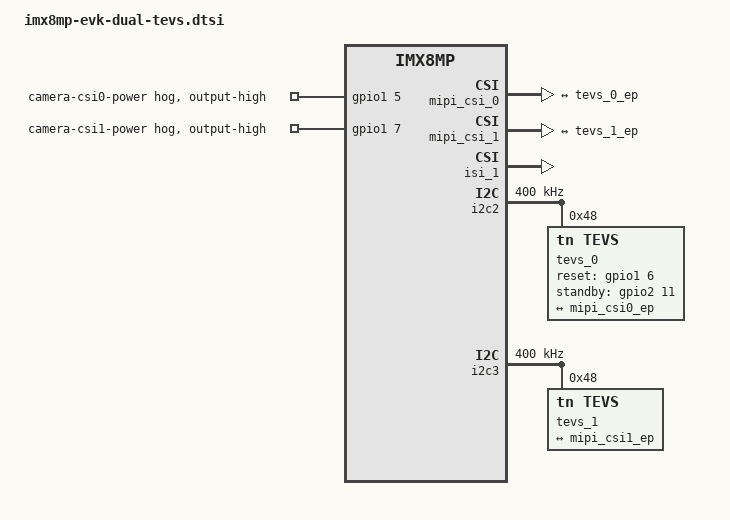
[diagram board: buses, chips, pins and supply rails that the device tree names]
// SPDX-License-Identifier: (GPL-2.0+ OR MIT)

#include "imx8mp-evk.dts"

/* Reset and standby are shared. CSI0 owns them; CSI1 must not request them. */
&iomuxc {
	pinctrl-0 = <&pinctrl_hog &dual_camera_pins>;

	dual_camera_pins: dual-camera-pins {
		fsl,pins = <
			MX8MP_IOMUXC_SD1_STROBE__GPIO2_IO11 0x9
			MX8MP_IOMUXC_GPIO1_IO05__GPIO1_IO05 0x9
			MX8MP_IOMUXC_GPIO1_IO06__GPIO1_IO06 0x19
			MX8MP_IOMUXC_GPIO1_IO07__GPIO1_IO07 0x9
			MX8MP_IOMUXC_GPIO1_IO15__GPIO1_IO15 0x9
		>;
	};
};

&gpio1 {
	camera-csi0-power-hog {
		gpio-hog;
		gpios = <5 GPIO_ACTIVE_HIGH>;
		output-high;
		line-name = "camera-csi0-power";
	};

	camera-csi1-power-hog {
		gpio-hog;
		gpios = <7 GPIO_ACTIVE_HIGH>;
		output-high;
		line-name = "camera-csi1-power";
	};
};

&mipi_csi_0 {
	status = "okay";

	port {
		mipi_csi0_ep: endpoint {
			remote-endpoint = <&tevs_0_ep>;
			data-lanes = <4>;
			csis-hs-settle = <13>;
			csis-clk-settle = <2>;
			csis-wclk;
		};
	};
};

&mipi_csi_1 {
	#address-cells = <1>;
	#size-cells = <0>;
	status = "okay";

	port@1 {
		reg = <1>;

		mipi_csi1_ep: endpoint {
			remote-endpoint = <&tevs_1_ep>;
			data-lanes = <4>;
			csis-hs-settle = <13>;
			csis-clk-settle = <2>;
			csis-wclk;
		};
	};
};

&isi_1 {
	status = "okay";

	cap_device {
		status = "okay";
	};
};

&i2c2 {
	clock-frequency = <400000>;
	status = "okay";
	/delete-node/ ov5640_mipi@3c;

	tevs_0: tevs@48 {
		compatible = "tn,tevs";
		reg = <0x48>;
		reset-gpios = <&gpio1 6 GPIO_ACTIVE_HIGH>;
		standby-gpios = <&gpio2 11 GPIO_ACTIVE_HIGH>;
		csi_id = <0>;

		port {
			tevs_0_ep: endpoint {
				remote-endpoint = <&mipi_csi0_ep>;
				data-lanes = <1 2 3 4>;
				clock-lanes = <0>;
				clock-noncontinuous;
				link-frequencies = /bits/ 64 <400000000>;
			};
		};
	};
};

&i2c3 {
	clock-frequency = <400000>;
	status = "okay";
	/delete-node/ ov5640_mipi@3c;

	tevs_1: tevs@48 {
		compatible = "tn,tevs";
		reg = <0x48>;
		csi_id = <1>;

		port {
			tevs_1_ep: endpoint {
				remote-endpoint = <&mipi_csi1_ep>;
				data-lanes = <1 2 3 4>;
				clock-lanes = <0>;
				clock-noncontinuous;
				link-frequencies = /bits/ 64 <400000000>;
			};
		};
	};
};
